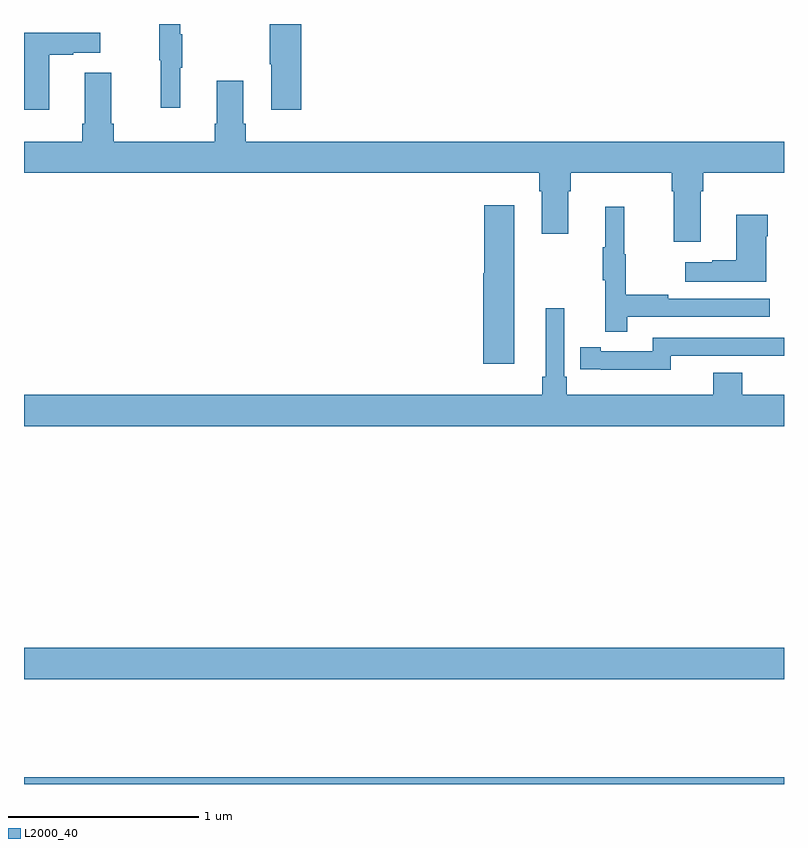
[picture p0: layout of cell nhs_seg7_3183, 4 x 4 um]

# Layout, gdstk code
import gdstk
lib = gdstk.Library(unit=1e-6, precision=1e-09)
def R(c, l, rs):  # rectangles x0, y0, x1, y1
    for r in rs: c.add(gdstk.rectangle(r[:2], r[2:], *l))
def P(c, l, *ps):  # polygons
    for p in ps: c.add(gdstk.Polygon(p, *l))
L2000_40 = (2000, 40)

nhs_seg7_3183 = lib.new_cell('nhs_seg7_3183')
R(nhs_seg7_3183, L2000_40, [(313,1064,317,1064.036), (313,1064.552,317,1064.716)])
P(nhs_seg7_3183, L2000_40, [(314.459,1068),(314.293,1068),(314.293,1067.788),(314.3,1067.788),(314.3,1067.55),(314.459,1067.55)],
  [(313.823,1067.771),(313.834,1067.771),(313.834,1067.945),(313.823,1067.945),(313.823,1068),(313.713,1068),(313.713,1067.808),(313.72,1067.808),(313.72,1067.559),(313.823,1067.559)],
  [(313.132,1067.839),(313.259,1067.839),(313.259,1067.849),(313.402,1067.849),(313.402,1067.953),(313,1067.953),(313,1067.55),(313.132,1067.55)],
  [(316.561,1067.12),(316.574,1067.12),(316.574,1067.216),(317,1067.216),(317,1067.38),(314.168,1067.38),(314.168,1067.476),(314.155,1067.476),(314.155,1067.701),(314.015,1067.701),(314.015,1067.476),(314.003,1067.476),(314.003,1067.38),(313.472,1067.38),(313.472,1067.476),(313.459,1067.476),(313.459,1067.743),(313.319,1067.743),(313.319,1067.476),(313.307,1067.476),(313.307,1067.38),(313,1067.38),(313,1067.216),(315.713,1067.216),(315.713,1067.12),(315.725,1067.12),(315.725,1066.896),(315.865,1066.896),(315.865,1067.12),(315.878,1067.12),(315.878,1067.216),(316.409,1067.216),(316.409,1067.12),(316.421,1067.12),(316.421,1066.854),(316.561,1066.854)],
  [(315.58,1067.047),(315.422,1067.047),(315.422,1066.689),(315.416,1066.689),(315.416,1066.212),(315.58,1066.212)],
  [(316.175,1066.458),(316.924,1066.458),(316.924,1066.554),(316.391,1066.554),(316.391,1066.574),(316.168,1066.574),(316.168,1066.788),(316.16,1066.788),(316.16,1067.038),(316.058,1067.038),(316.058,1066.825),(316.047,1066.825),(316.047,1066.651),(316.058,1066.651),(316.058,1066.38),(316.175,1066.38)],
  [(316.906,1066.883),(316.914,1066.883),(316.914,1066.996),(316.748,1066.996),(316.748,1066.757),(316.622,1066.757),(316.622,1066.747),(316.479,1066.747),(316.479,1066.643),(316.906,1066.643)],
  [(317,1066.048),(316.781,1066.048),(316.781,1066.165),(316.628,1066.165),(316.628,1066.048),(315.857,1066.048),(315.857,1066.144),(315.843,1066.144),(315.843,1066.504),(315.746,1066.504),(315.746,1066.144),(315.727,1066.144),(315.727,1066.048),(313,1066.048),(313,1065.884),(317,1065.884)],
  [(316.404,1066.254),(316.864,1066.254),(316.864,1066.253),(317,1066.253),(317,1066.35),(316.308,1066.35),(316.308,1066.278),(316.036,1066.278),(316.036,1066.298),(315.928,1066.298),(315.928,1066.182),(316.036,1066.182),(316.036,1066.181),(316.404,1066.181)])

lib.write_gds('nhs_seg7_3183.gds')
